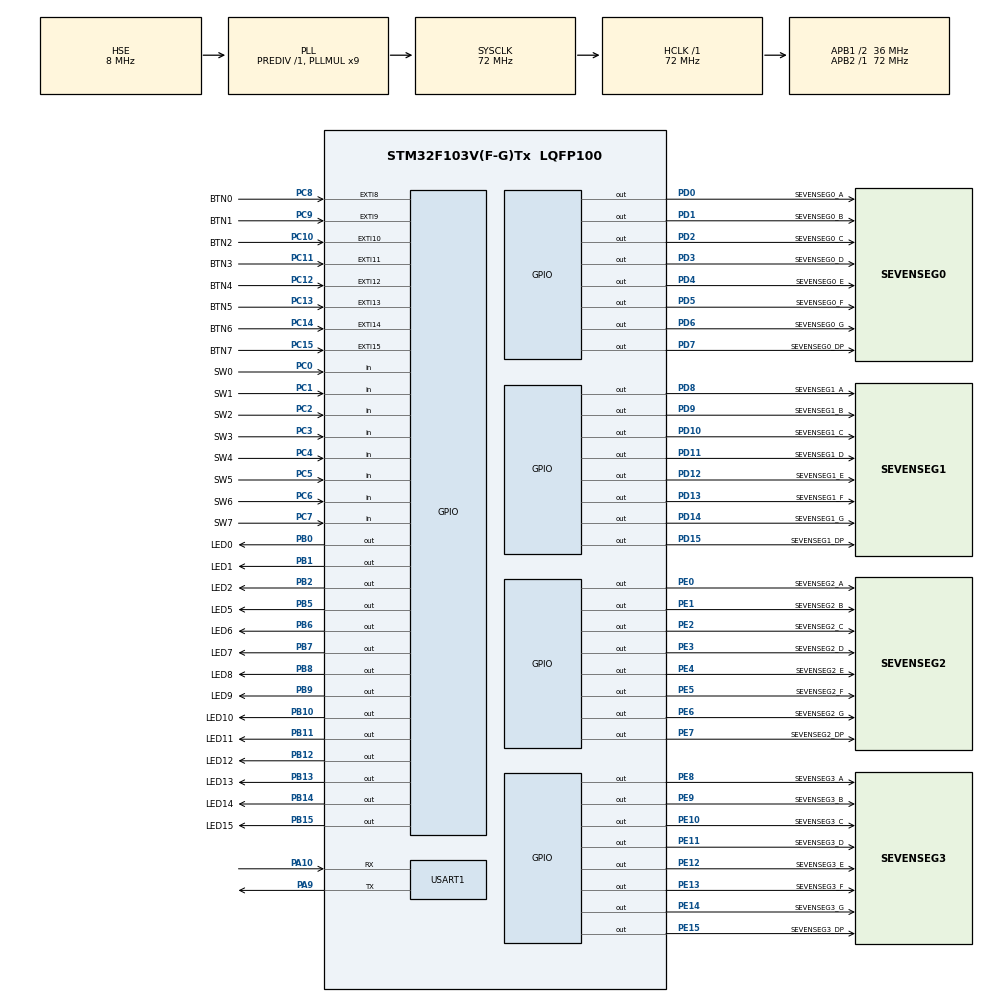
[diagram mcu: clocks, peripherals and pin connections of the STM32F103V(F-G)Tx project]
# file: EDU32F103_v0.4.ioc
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Mcu.Family=STM32F1
Mcu.Name=STM32F103V(F-G)Tx
Mcu.Package=LQFP100
NVIC.EXTI15_10_IRQn=true\:0\:0\:false\:false\:true\:true\:true\:true
NVIC.EXTI9_5_IRQn=true\:0\:0\:false\:false\:true\:true\:true\:true
NVIC.PriorityGroup=NVIC_PRIORITYGROUP_4
OSC_IN.Mode=HSE-External-Oscillator
OSC_IN.Signal=RCC_OSC_IN
OSC_OUT.Mode=HSE-External-Oscillator
OSC_OUT.Signal=RCC_OSC_OUT
PA10.Mode=Asynchronous
PA10.Signal=USART1_RX
PA11.Signal=USB_DM
PA12.Signal=USB_DP
PA13.Mode=JTAG_5_pins
PA13.Signal=SYS_JTMS-SWDIO
PA14.Mode=JTAG_5_pins
PA14.Signal=SYS_JTCK-SWCLK
PA15.Mode=JTAG_5_pins
PA15.Signal=SYS_JTDI
PA9.Mode=Asynchronous
PA9.Signal=USART1_TX
PB0.GPIO_Label=LED0
PB0.Signal=GPIO_Output
PB1.GPIO_Label=LED1
PB1.Signal=GPIO_Output
PB10.GPIO_Label=LED10
PB10.Signal=GPIO_Output
PB11.GPIO_Label=LED11
PB11.Signal=GPIO_Output
PB12.GPIO_Label=LED12
PB12.Signal=GPIO_Output
PB13.GPIO_Label=LED13
PB13.Signal=GPIO_Output
PB14.GPIO_Label=LED14
PB14.Signal=GPIO_Output
PB15.GPIO_Label=LED15
PB15.Signal=GPIO_Output
PB2.GPIO_Label=LED2
PB2.Signal=GPIO_Output
PB3.Mode=JTAG_5_pins
PB3.Signal=SYS_JTDO-TRACESWO
PB4.Mode=JTAG_5_pins
PB4.Signal=SYS_NJTRST
PB5.GPIO_Label=LED5
PB5.Signal=GPIO_Output
PB6.GPIO_Label=LED6
PB6.Signal=GPIO_Output
PB7.GPIO_Label=LED7
PB7.Signal=GPIO_Output
PB8.GPIO_Label=LED8
PB8.Signal=GPIO_Output
PB9.GPIO_Label=LED9
PB9.Signal=GPIO_Output
PC0.GPIO_Label=SW0
PC0.Signal=GPIO_Input
PC1.GPIO_Label=SW1
PC1.Signal=GPIO_Input
PC10.GPIO_Label=BTN2
PC10.Signal=GPXTI10
PC11.GPIO_Label=BTN3
PC11.Signal=GPXTI11
PC12.GPIO_Label=BTN4
PC12.Signal=GPXTI12
PC13-TAMPER-RTC.GPIO_Label=BTN5
PC13-TAMPER-RTC.Signal=GPXTI13
PC14-OSC32_IN.GPIO_Label=BTN6
PC14-OSC32_IN.Signal=GPXTI14
PC15-OSC32_OUT.GPIO_Label=BTN7
PC15-OSC32_OUT.Signal=GPXTI15
PC2.GPIO_Label=SW2
PC2.Signal=GPIO_Input
PC3.GPIO_Label=SW3
PC3.Signal=GPIO_Input
PC4.GPIO_Label=SW4
PC4.Signal=GPIO_Input
PC5.GPIO_Label=SW5
PC5.Signal=GPIO_Input
PC6.GPIO_Label=SW6
PC6.Signal=GPIO_Input
PC7.GPIO_Label=SW7
PC7.Signal=GPIO_Input
PC8.GPIO_Label=BTN0
PC8.Signal=GPXTI8
PC9.GPIO_Label=BTN1
PC9.Signal=GPXTI9
PD0.GPIO_Label=SEVENSEG0_A
PD0.Signal=GPIO_Output
PD1.GPIO_Label=SEVENSEG0_B
PD1.Signal=GPIO_Output
PD10.GPIO_Label=SEVENSEG1_C
PD10.Signal=GPIO_Output
PD11.GPIO_Label=SEVENSEG1_D
PD11.Signal=GPIO_Output
PD12.GPIO_Label=SEVENSEG1_E
PD12.Signal=GPIO_Output
PD13.GPIO_Label=SEVENSEG1_F
PD13.Signal=GPIO_Output
PD14.GPIO_Label=SEVENSEG1_G
PD14.Signal=GPIO_Output
PD15.GPIO_Label=SEVENSEG1_DP
PD15.Signal=GPIO_Output
PD2.GPIO_Label=SEVENSEG0_C
PD2.Signal=GPIO_Output
PD3.GPIO_Label=SEVENSEG0_D
PD3.Signal=GPIO_Output
PD4.GPIO_Label=SEVENSEG0_E
PD4.Signal=GPIO_Output
PD5.GPIO_Label=SEVENSEG0_F
PD5.Signal=GPIO_Output
PD6.GPIO_Label=SEVENSEG0_G
PD6.Signal=GPIO_Output
PD7.GPIO_Label=SEVENSEG0_DP
PD7.Signal=GPIO_Output
PD8.GPIO_Label=SEVENSEG1_A
PD8.Signal=GPIO_Output
PD9.GPIO_Label=SEVENSEG1_B
PD9.Signal=GPIO_Output
PE0.GPIO_Label=SEVENSEG2_A
PE0.Signal=GPIO_Output
PE1.GPIO_Label=SEVENSEG2_B
PE1.Signal=GPIO_Output
PE10.GPIO_Label=SEVENSEG3_C
PE10.Signal=GPIO_Output
PE11.GPIO_Label=SEVENSEG3_D
PE11.Signal=GPIO_Output
PE12.GPIO_Label=SEVENSEG3_E
PE12.Signal=GPIO_Output
PE13.GPIO_Label=SEVENSEG3_F
PE13.Signal=GPIO_Output
PE14.GPIO_Label=SEVENSEG3_G
PE14.Signal=GPIO_Output
PE15.GPIO_Label=SEVENSEG3_DP
PE15.Signal=GPIO_Output
PE2.GPIO_Label=SEVENSEG2_C
PE2.Signal=GPIO_Output
PE3.GPIO_Label=SEVENSEG2_D
PE3.Signal=GPIO_Output
PE4.GPIO_Label=SEVENSEG2_E
PE4.Signal=GPIO_Output
PE5.GPIO_Label=SEVENSEG2_F
PE5.Signal=GPIO_Output
PE6.GPIO_Label=SEVENSEG2_G
PE6.Signal=GPIO_Output
PE7.GPIO_Label=SEVENSEG2_DP
PE7.Signal=GPIO_Output
PE8.GPIO_Label=SEVENSEG3_A
PE8.Signal=GPIO_Output
PE9.GPIO_Label=SEVENSEG3_B
PE9.Signal=GPIO_Output
ProjectManager.HeapSize=0x200
ProjectManager.StackSize=0x400
ProjectManager.TargetToolchain=Makefile
RCC.AHBFreq_Value=72000000
RCC.APB1CLKDivider=RCC_HCLK_DIV2
RCC.APB1Freq_Value=36000000
RCC.APB1TimFreq_Value=72000000
RCC.APB2Freq_Value=72000000
RCC.APB2TimFreq_Value=72000000
RCC.HCLKFreq_Value=72000000
RCC.PLLMUL=RCC_PLL_MUL9
RCC.PLLSourceVirtual=RCC_PLLSOURCE_HSE
RCC.SYSCLKFreq_VALUE=72000000
RCC.SYSCLKSource=RCC_SYSCLKSOURCE_PLLCLK
RCC.USBFreq_Value=48000000
RCC.USBPrescaler=RCC_USBCLKSOURCE_PLL_DIV1_5
USART1.VirtualMode=VM_ASYNC
board=custom

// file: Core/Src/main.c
/* USER CODE BEGIN Header */
/**
 ******************************************************************************
 * @file           : main.c
 * @brief          : Main program body
 ******************************************************************************
 * @attention
 *
 * Copyright (c) 2024 STMicroelectronics.
 * All rights reserved.
 *
 * This software is licensed under terms that can be found in the LICENSE file
 * in the root directory of this software component.
 * If no LICENSE file comes with this software, it is provided AS-IS.
 *
 ******************************************************************************
 */
/* USER CODE END Header */
#include "main.h"

/* USER CODE BEGIN Includes */
#include <stdbool.h>
#include <stdarg.h>
#include <stdlib.h>
/* USER CODE END Includes */

UART_HandleTypeDef huart1;

void SystemClock_Config(void);
static void MX_GPIO_Init(void);
static void MX_USART1_UART_Init(void);

/* USER CODE BEGIN 0 */
static const int even_leds = LED0_Pin | LED2_Pin | LED6_Pin | LED8_Pin | LED10_Pin | LED12_Pin | LED14_Pin;
static const int odd_leds = LED1_Pin | LED5_Pin | LED7_Pin | LED9_Pin | LED11_Pin | LED13_Pin | LED15_Pin;
static const int leds = even_leds | odd_leds;

void log(const char *msg, ...)
{
    char buffer[256];
    va_list args;
    va_start(args, msg);
    vsprintf(buffer, msg, args);
    va_end(args);

    HAL_UART_Transmit(&huart1, (uint8_t *)buffer, strlen(buffer), 0x200);
    HAL_UART_Transmit(&huart1, (uint8_t *)"\r\n", 2, 0x200);
}

void light_only_leds(int leds)
{
    HAL_GPIO_WritePin(LED0_GPIO_Port, ~leds, GPIO_PIN_SET);
    HAL_GPIO_WritePin(LED0_GPIO_Port, leds, GPIO_PIN_RESET);
}

void display_digit(GPIO_TypeDef *GPIOx, uint16_t digit, bool is_lower_byte, bool has_dot)
{
    /* Check the parameters */
    assert_param(IS_GPIO_PIN(GPIO_Pin));
    if (digit > 9)
        return; // TODO: handle error

    int lut[10] = {
        0b00111111, // 0
        0b00000110, // 1
        0b01011011, // 2
        0b01001111, // 3
        0b01100110, // 4
        0b01101101, // 5
        0b01111101, // 6
        0b00000111, // 7
        0b01111111, // 8
        0b01101111, // 9
    };

    const int shift = is_lower_byte ? 8 : 0;

    const int reset_pin = 0b11111111 << shift;
    HAL_GPIO_WritePin(GPIOx, reset_pin, GPIO_PIN_SET);

    int value = lut[digit] << shift;
    if (has_dot)
        value |= 0b10000000 << shift;

    HAL_GPIO_WritePin(GPIOx, value, GPIO_PIN_RESET);
}

uint16_t get_digit(int number, uint8_t idx)
{
    for (int i = 0; i < idx; i++)
        number /= 10;
    return number % 10;
}

void display_ms(uint16_t number)
{
    display_digit(SEVENSEG0_E_GPIO_Port, get_digit(number, 0), false, false);
    display_digit(SEVENSEG1_E_GPIO_Port, get_digit(number, 1), true, false);
    display_digit(SEVENSEG2_E_GPIO_Port, get_digit(number, 2), false, false);
    display_digit(SEVENSEG3_E_GPIO_Port, get_digit(number, 3), true, true);
}

void store_result(int *results, int result, int size)
{
    for (int i = 0; i < size; i++)
    {
        if (results[i] == 0)
        {
            results[i] = result;
            break;
        }
    }
}

void display_average(int *results, int size)
{
    int sum = 0;
    int count = 0;
    for (int i = 0; i < size; i++)
    {
        if (results[i] == 0)
            break;
        sum += results[i];
        ++count;
    }

    const int average = sum / count;
    display_ms(average);
}

void store_button_press_time(int *store_to)
{
    const int time = HAL_GetTick();
    const int BOUNCE_DELAY = 300;
    const int delta = time - *store_to;
    if (delta < BOUNCE_DELAY)
        return; // button probably activated twice

    *store_to = time;
}

int number_of_toggled_switches()
{
    const int switches[] = {SW0_Pin, SW1_Pin, SW2_Pin, SW3_Pin, SW4_Pin, SW5_Pin, SW6_Pin, SW7_Pin};
    int count = 0;
    for (int i = 0; i < 8; i++)
    {
        if (HAL_GPIO_ReadPin(GPIOC, switches[i]) == GPIO_PIN_SET)
            ++count;
    }
    return count;
}

static int ticks_when_test_started = 0;
static int ticks_when_user_pressed = 0;
static int results[10] = {0};

bool is_signal_time(int number_of_switches)
{
    const bool random_validated = rand() < RAND_MAX / 100000;
    const int minimum = 3000 + number_of_switches * 1000;

    const int elapsed = HAL_GetTick() - ticks_when_test_started;

    return random_validated && elapsed > minimum;
}

void HAL_GPIO_EXTI_Callback(uint16_t GPIO_Pin)
{
    switch (GPIO_Pin)
    {
    case BTN1_Pin:
        store_button_press_time(&ticks_when_test_started);
        srand(HAL_GetTick());
        log("Test started. Ticks: %i", ticks_when_test_started);

        break;
    case BTN2_Pin:
        log("Displaying average");
        display_average(results, 10);
        break;
    case BTN4_Pin:
        store_button_press_time(&ticks_when_user_pressed);
        log("User pressed the button. Ticks: %i", ticks_when_user_pressed);
        break;
    }
}
/* USER CODE END 0 */

int main(void)
{

    /* MCU Configuration--------------------------------------------------------*/

    /* Reset of all peripherals, Initializes the Flash interface and the Systick. */
    HAL_Init();

    /* Configure the system clock */
    SystemClock_Config();

    /* Initialize all configured peripherals */
    MX_GPIO_Init();
    MX_USART1_UART_Init();
    /* USER CODE BEGIN 2 */
    log("Starting");

    display_ms(0);

    // turn off all LEDs
    HAL_GPIO_WritePin(LED0_GPIO_Port, leds, GPIO_PIN_RESET);

    int ticks_when_signal_fired = 0;
    log("%i toggled switches at start", number_of_toggled_switches());

    /* USER CODE END 2 */

    /* Infinite loop */
    /* USER CODE BEGIN WHILE */
    while (1)
    {
        if (ticks_when_test_started == 0)
            continue;

        // test has started. Make the LEDs blink. Half a second even, half a second odd.
        const int time = HAL_GetTick() - ticks_when_test_started;
        const int period = 1000;

        const int is_even = (time / period) % 2 == 0;
        light_only_leds(is_even ? even_leds : odd_leds);

        if (is_signal_time(number_of_toggled_switches()))
        {
            ticks_when_signal_fired = HAL_GetTick();
            log("Firing signal at ticks: %i", ticks_when_signal_fired);
            light_only_leds(leds);
            HAL_Delay(2000);
        }

        if (ticks_when_user_pressed == 0)
            continue;

        if (ticks_when_signal_fired == 0)
            // the user pressed the button too early
            continue;

        // test has started and the button has been pressed. Display the time.
        const int reaction_time = ticks_when_user_pressed - ticks_when_signal_fired;
        log("Reaction time: %i", reaction_time);

        store_result(results, reaction_time, 10);

        display_ms(reaction_time);
        ticks_when_signal_fired = 0;
        ticks_when_user_pressed = 0;
        ticks_when_test_started = 0;

        /* USER CODE END WHILE */

    }
}

void SystemClock_Config(void)
{
    RCC_OscInitTypeDef RCC_OscInitStruct = {0};
    RCC_ClkInitTypeDef RCC_ClkInitStruct = {0};

    /** Initializes the RCC Oscillators according to the specified parameters
     * in the RCC_OscInitTypeDef structure.
     */
    RCC_OscInitStruct.OscillatorType = RCC_OSCILLATORTYPE_HSE;
    RCC_OscInitStruct.HSEState = RCC_HSE_ON;
    RCC_OscInitStruct.HSEPredivValue = RCC_HSE_PREDIV_DIV1;
    RCC_OscInitStruct.HSIState = RCC_HSI_ON;
    RCC_OscInitStruct.PLL.PLLState = RCC_PLL_ON;
    RCC_OscInitStruct.PLL.PLLSource = RCC_PLLSOURCE_HSE;
    RCC_OscInitStruct.PLL.PLLMUL = RCC_PLL_MUL9;
    if (HAL_RCC_OscConfig(&RCC_OscInitStruct) != HAL_OK)
    {
        Error_Handler();
    }

    /** Initializes the CPU, AHB and APB buses clocks
     */
    RCC_ClkInitStruct.ClockType = RCC_CLOCKTYPE_HCLK | RCC_CLOCKTYPE_SYSCLK | RCC_CLOCKTYPE_PCLK1 | RCC_CLOCKTYPE_PCLK2;
    RCC_ClkInitStruct.SYSCLKSource = RCC_SYSCLKSOURCE_PLLCLK;
    RCC_ClkInitStruct.AHBCLKDivider = RCC_SYSCLK_DIV1;
    RCC_ClkInitStruct.APB1CLKDivider = RCC_HCLK_DIV2;
    RCC_ClkInitStruct.APB2CLKDivider = RCC_HCLK_DIV1;

    if (HAL_RCC_ClockConfig(&RCC_ClkInitStruct, FLASH_LATENCY_2) != HAL_OK)
    {
        Error_Handler();
    }
}

static void MX_USART1_UART_Init(void)
{

    huart1.Instance = USART1;
    huart1.Init.BaudRate = 115200;
    huart1.Init.WordLength = UART_WORDLENGTH_8B;
    huart1.Init.StopBits = UART_STOPBITS_1;
    huart1.Init.Parity = UART_PARITY_NONE;
    huart1.Init.Mode = UART_MODE_TX_RX;
    huart1.Init.HwFlowCtl = UART_HWCONTROL_NONE;
    huart1.Init.OverSampling = UART_OVERSAMPLING_16;
    if (HAL_UART_Init(&huart1) != HAL_OK)
    {
        Error_Handler();
    }
}

static void MX_GPIO_Init(void)
{
    GPIO_InitTypeDef GPIO_InitStruct = {0};

    /* GPIO Ports Clock Enable */
    __HAL_RCC_GPIOE_CLK_ENABLE();
    __HAL_RCC_GPIOC_CLK_ENABLE();
    __HAL_RCC_GPIOB_CLK_ENABLE();
    __HAL_RCC_GPIOD_CLK_ENABLE();
    __HAL_RCC_GPIOA_CLK_ENABLE();

    /*Configure GPIO pin Output Level */
    HAL_GPIO_WritePin(GPIOE, SEVENSEG2_C_Pin | SEVENSEG2_D_Pin | SEVENSEG2_E_Pin | SEVENSEG2_F_Pin | SEVENSEG2_G_Pin | SEVENSEG2_DP_Pin | SEVENSEG3_A_Pin | SEVENSEG3_B_Pin | SEVENSEG3_C_Pin | SEVENSEG3_D_Pin | SEVENSEG3_E_Pin | SEVENSEG3_F_Pin | SEVENSEG3_G_Pin | SEVENSEG3_DP_Pin | SEVENSEG2_A_Pin | SEVENSEG2_B_Pin, GPIO_PIN_RESET);

    /*Configure GPIO pin Output Level */
    HAL_GPIO_WritePin(GPIOB, LED0_Pin | LED1_Pin | LED2_Pin | LED10_Pin | LED11_Pin | LED12_Pin | LED13_Pin | LED14_Pin | LED15_Pin | LED5_Pin | LED6_Pin | LED7_Pin | LED8_Pin | LED9_Pin, GPIO_PIN_RESET);

    /*Configure GPIO pin Output Level */
    HAL_GPIO_WritePin(GPIOD, SEVENSEG1_A_Pin | SEVENSEG1_B_Pin | SEVENSEG1_C_Pin | SEVENSEG1_D_Pin | SEVENSEG1_E_Pin | SEVENSEG1_F_Pin | SEVENSEG1_G_Pin | SEVENSEG1_DP_Pin | SEVENSEG0_A_Pin | SEVENSEG0_B_Pin | SEVENSEG0_C_Pin | SEVENSEG0_D_Pin | SEVENSEG0_E_Pin | SEVENSEG0_F_Pin | SEVENSEG0_G_Pin | SEVENSEG0_DP_Pin, GPIO_PIN_RESET);

    /*Configure GPIO pins : SEVENSEG2_C_Pin SEVENSEG2_D_Pin SEVENSEG2_E_Pin SEVENSEG2_F_Pin
                             SEVENSEG2_G_Pin SEVENSEG2_DP_Pin SEVENSEG3_A_Pin SEVENSEG3_B_Pin
                             SEVENSEG3_C_Pin SEVENSEG3_D_Pin SEVENSEG3_E_Pin SEVENSEG3_F_Pin
                             SEVENSEG3_G_Pin SEVENSEG3_DP_Pin SEVENSEG2_A_Pin SEVENSEG2_B_Pin */
    GPIO_InitStruct.Pin = SEVENSEG2_C_Pin | SEVENSEG2_D_Pin | SEVENSEG2_E_Pin | SEVENSEG2_F_Pin | SEVENSEG2_G_Pin | SEVENSEG2_DP_Pin | SEVENSEG3_A_Pin | SEVENSEG3_B_Pin | SEVENSEG3_C_Pin | SEVENSEG3_D_Pin | SEVENSEG3_E_Pin | SEVENSEG3_F_Pin | SEVENSEG3_G_Pin | SEVENSEG3_DP_Pin | SEVENSEG2_A_Pin | SEVENSEG2_B_Pin;
    GPIO_InitStruct.Mode = GPIO_MODE_OUTPUT_PP;
    GPIO_InitStruct.Pull = GPIO_NOPULL;
    GPIO_InitStruct.Speed = GPIO_SPEED_FREQ_LOW;
    HAL_GPIO_Init(GPIOE, &GPIO_InitStruct);

    /*Configure GPIO pins : BTN5_Pin BTN6_Pin BTN7_Pin BTN0_Pin
                             BTN1_Pin BTN2_Pin BTN3_Pin BTN4_Pin */
    GPIO_InitStruct.Pin = BTN5_Pin | BTN6_Pin | BTN7_Pin | BTN0_Pin | BTN1_Pin | BTN2_Pin | BTN3_Pin | BTN4_Pin;
    GPIO_InitStruct.Mode = GPIO_MODE_IT_RISING;
    GPIO_InitStruct.Pull = GPIO_NOPULL;
    HAL_GPIO_Init(GPIOC, &GPIO_InitStruct);

    /*Configure GPIO pins : SW0_Pin SW1_Pin SW2_Pin SW3_Pin
                             SW4_Pin SW5_Pin SW6_Pin SW7_Pin */
    GPIO_InitStruct.Pin = SW0_Pin | SW1_Pin | SW2_Pin | SW3_Pin | SW4_Pin | SW5_Pin | SW6_Pin | SW7_Pin;
    GPIO_InitStruct.Mode = GPIO_MODE_INPUT;
    GPIO_InitStruct.Pull = GPIO_NOPULL;
    HAL_GPIO_Init(GPIOC, &GPIO_InitStruct);

    /*Configure GPIO pins : LED0_Pin LED1_Pin LED2_Pin LED10_Pin
                             LED11_Pin LED12_Pin LED13_Pin LED14_Pin
                             LED15_Pin LED5_Pin LED6_Pin LED7_Pin
                             LED8_Pin LED9_Pin */
    GPIO_InitStruct.Pin = LED0_Pin | LED1_Pin | LED2_Pin | LED10_Pin | LED11_Pin | LED12_Pin | LED13_Pin | LED14_Pin | LED15_Pin | LED5_Pin | LED6_Pin | LED7_Pin | LED8_Pin | LED9_Pin;
    GPIO_InitStruct.Mode = GPIO_MODE_OUTPUT_PP;
    GPIO_InitStruct.Pull = GPIO_NOPULL;
    GPIO_InitStruct.Speed = GPIO_SPEED_FREQ_LOW;
    HAL_GPIO_Init(GPIOB, &GPIO_InitStruct);

    /*Configure GPIO pins : SEVENSEG1_A_Pin SEVENSEG1_B_Pin SEVENSEG1_C_Pin SEVENSEG1_D_Pin
                             SEVENSEG1_E_Pin SEVENSEG1_F_Pin SEVENSEG1_G_Pin SEVENSEG1_DP_Pin
                             SEVENSEG0_A_Pin SEVENSEG0_B_Pin SEVENSEG0_C_Pin SEVENSEG0_D_Pin
                             SEVENSEG0_E_Pin SEVENSEG0_F_Pin SEVENSEG0_G_Pin SEVENSEG0_DP_Pin */
    GPIO_InitStruct.Pin = SEVENSEG1_A_Pin | SEVENSEG1_B_Pin | SEVENSEG1_C_Pin | SEVENSEG1_D_Pin | SEVENSEG1_E_Pin | SEVENSEG1_F_Pin | SEVENSEG1_G_Pin | SEVENSEG1_DP_Pin | SEVENSEG0_A_Pin | SEVENSEG0_B_Pin | SEVENSEG0_C_Pin | SEVENSEG0_D_Pin | SEVENSEG0_E_Pin | SEVENSEG0_F_Pin | SEVENSEG0_G_Pin | SEVENSEG0_DP_Pin;
    GPIO_InitStruct.Mode = GPIO_MODE_OUTPUT_PP;
    GPIO_InitStruct.Pull = GPIO_NOPULL;
    GPIO_InitStruct.Speed = GPIO_SPEED_FREQ_LOW;
    HAL_GPIO_Init(GPIOD, &GPIO_InitStruct);

    /* EXTI interrupt init*/
    HAL_NVIC_SetPriority(EXTI9_5_IRQn, 0, 0);
    HAL_NVIC_EnableIRQ(EXTI9_5_IRQn);

    HAL_NVIC_SetPriority(EXTI15_10_IRQn, 0, 0);
    HAL_NVIC_EnableIRQ(EXTI15_10_IRQn);

}

void Error_Handler(void)
{
    __disable_irq();
    while (1)
    {
    }
}
